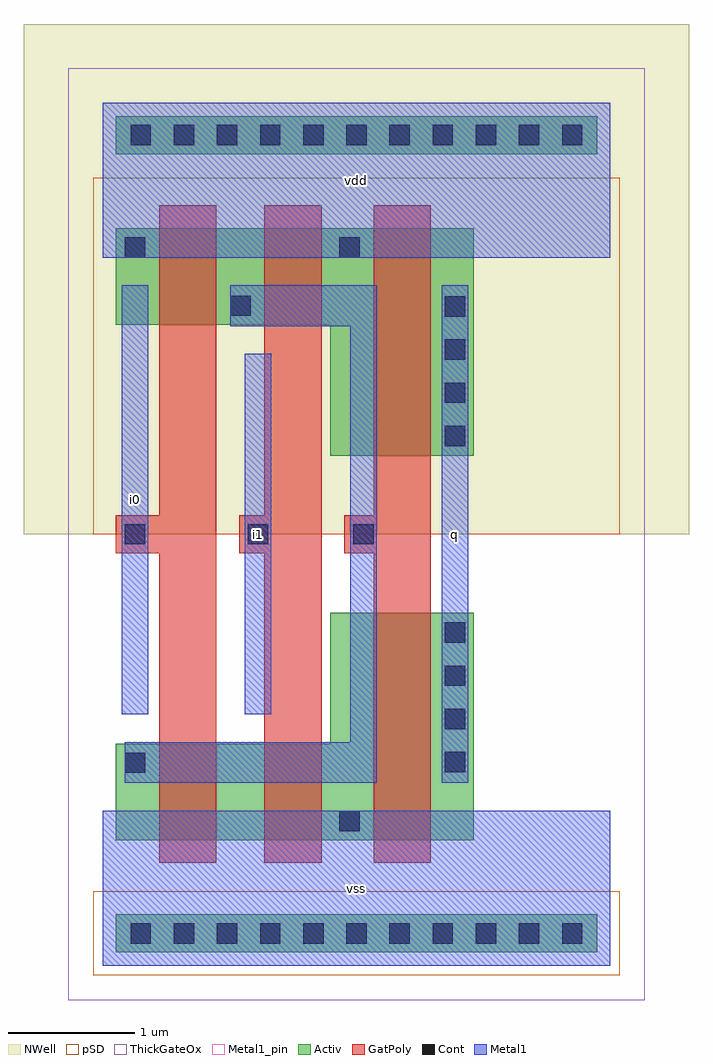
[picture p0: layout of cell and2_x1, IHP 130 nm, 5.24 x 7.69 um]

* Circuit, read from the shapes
.subckt and2_x1 i0 i1 q vdd vss
XM1 n1 i0 n2 vss sg13_hv_nmos w=0.76u l=0.45u
XM2 vss i1 n1 vss sg13_hv_nmos w=0.76u l=0.45u
XM3 q n2 vss vss sg13_hv_nmos w=1.79u l=0.45u
XM4 n2 i0 vdd vdd sg13_hv_pmos w=0.76u l=0.45u
XM5 vdd i1 n2 vdd sg13_hv_pmos w=0.76u l=0.45u
XM6 q n2 vdd vdd sg13_hv_pmos w=1.79u l=0.45u
.ends

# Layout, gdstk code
import gdstk
lib = gdstk.Library(unit=1e-6, precision=1e-09)
def R(c, l, rs):  # rectangles x0, y0, x1, y1
    for r in rs: c.add(gdstk.rectangle(r[:2], r[2:], *l))
def A(c, l, x, y, w, h, nx, ny, dx, dy):  # array of equal rectangles
    R(c, l, [(x+i*dx, y+j*dy, x+i*dx+w, y+j*dy+h) for i in range(nx) for j in range(ny)])
def P(c, l, *ps):  # polygons
    for p in ps: c.add(gdstk.Polygon(p, *l))
Activ = (1, 0)
GatPoly = (5, 0)
Cont = (6, 0)
Metal1 = (8, 0)
Metal1_pin = (8, 2)
pSD = (14, 0)
NWell = (31, 0)
ThickGateOx = (44, 0)

and2_x1 = lib.new_cell('and2_x1')
R(and2_x1, Activ, [(0.105,0.105,3.895,0.405), (0.105,6.395,3.895,6.695)])
P(and2_x1, Activ, [(1.795,4.02),(1.795,5.05),(0.105,5.05),(0.105,5.81),(2.925,5.81),(2.925,4.02)],
  [(0.105,0.99),(0.105,1.75),(1.795,1.75),(1.795,2.78),(2.925,2.78),(2.925,0.99)])
P(and2_x1, GatPoly, [(2.135,0.81),(2.135,3.25),(1.905,3.25),(1.905,3.55),(2.135,3.55),(2.135,5.99),(2.585,5.99),(2.585,0.81)],
  [(0.445,0.81),(0.445,3.25),(0.105,3.25),(0.105,3.55),(0.445,3.55),(0.445,5.99),(0.895,5.99),(0.895,0.81)],
  [(1.275,0.81),(1.275,3.25),(1.075,3.25),(1.075,3.55),(1.275,3.55),(1.275,5.99),(1.725,5.99),(1.725,0.81)])
A(and2_x1, Cont, 0.22, 0.175, 0.16, 0.16, 11, 2, 0.34, 6.29)
A(and2_x1, Cont, 2.695, 1.525, 0.16, 0.16, 1, 4, 0, 0.34)
A(and2_x1, Cont, 2.695, 4.095, 0.16, 0.16, 1, 4, 0, 0.34)
R(and2_x1, Cont, [(1.865,1.06,2.025,1.22), (0.175,1.52,0.335,1.68), (0.175,3.32,0.335,3.48), (1.145,3.32,1.305,3.48), (1.975,3.32,2.135,3.48), (1.005,5.12,1.165,5.28), (0.175,5.58,0.335,5.74), (1.865,5.58,2.025,5.74)])
R(and2_x1, Metal1, [(0,0,4,1.22), (2.67,1.44,2.88,5.36), (0.15,1.98,0.36,5.36), (1.12,1.98,1.33,4.82), (0,5.58,4,6.8)])
P(and2_x1, Metal1, [(0.175,1.44),(0.175,1.76),(1.95,1.76),(1.95,5.04),(1.005,5.04),(1.005,5.36),(2.16,5.36),(2.16,1.44)])
R(and2_x1, Metal1_pin, [(0,0,4,1.22), (2.67,1.44,2.88,5.36), (0.15,1.98,0.36,5.36), (1.12,1.98,1.33,4.82), (0,5.58,4,6.8)])
R(and2_x1, pSD, [(-0.075,-0.075,4.075,0.585), (-0.075,3.4,4.075,6.21)])
R(and2_x1, NWell, [(-0.62,3.4,4.62,7.42)])
R(and2_x1, ThickGateOx, [(-0.27,-0.27,4.27,7.07)])
and2_x1.add(gdstk.Label('vdd', (2,6.19), layer=8, texttype=2))
and2_x1.add(gdstk.Label('vss', (2,0.61), layer=8, texttype=2))
and2_x1.add(gdstk.Label('i0', (0.255,3.67), layer=8, texttype=2))
and2_x1.add(gdstk.Label('i1', (1.225,3.4), layer=8, texttype=2))
and2_x1.add(gdstk.Label('q', (2.775,3.4), layer=8, texttype=2))

lib.write_gds('and2_x1.gds')
